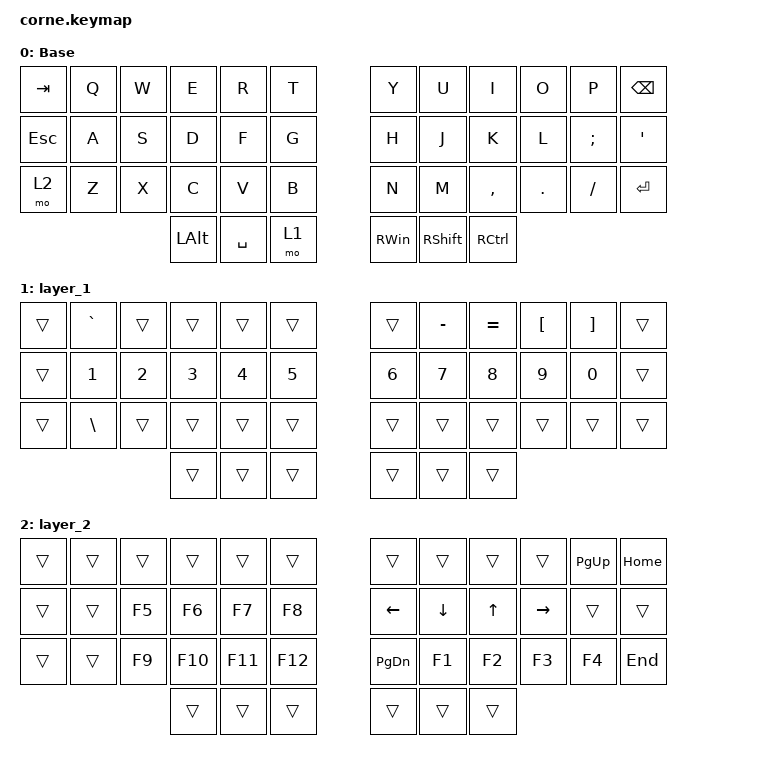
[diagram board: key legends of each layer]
/*
 * Copyright (c) 2020 The ZMK Contributors
 *
 * SPDX-License-Identifier: MIT
 */

#include <behaviors.dtsi>
#include <dt-bindings/zmk/keys.h>

/ {
    behaviors {
        ht_tp: ht_tp {
            compatible = "zmk,behavior-hold-tap";
            label = "HT_TP";
            bindings = <&kp>, <&kp>;

            #binding-cells = <2>;
            tapping-term-ms = <200>;
            flavor = "tap-preferred";
        };
    };

    keymap {
        compatible = "zmk,keymap";

        default_layer {
            // -----------------------------------------------------------------------------------------
            // |  TAB |  Q  |  W  |  E  |  R  |  T  |   |  Y  |  U   |  I  |  O  |  P  | BKSP |
            // | CTRL |  A  |  S  |  D  |  F  |  G  |   |  H  |  J   |  K  |  L  |  ;  |  '   |
            // | SHFT |  Z  |  X  |  C  |  V  |  B  |   |  N  |  M   |  ,  |  .  |  /  | ESC  |
            //                    | GUI | LWR | SPC |   | ENT | RSE  | ALT |

            display-name = "Base";
            bindings = <
&kp TAB     &kp Q  &kp W  &kp E         &kp R      &kp T    &kp Y          &kp U            &kp I              &kp O    &kp P     &kp BSPC
&kp ESCAPE  &kp A  &kp S  &kp D         &kp F      &kp G    &kp H          &kp J            &kp K              &kp L    &kp SEMI  &kp SQT
&mo 2       &kp Z  &kp X  &kp C         &kp V      &kp B    &kp N          &kp M            &kp COMMA          &kp DOT  &kp FSLH  &kp ENTER
                          &kp LEFT_ALT  &kp SPACE  &mo 1    &kp RIGHT_WIN  &kp RIGHT_SHIFT  &kp RIGHT_CONTROL
            >;
        };

        layer_1 {
            bindings = <
&trans  &kp GRAVE      &trans        &trans        &trans        &trans          &trans        &kp MINUS     &kp EQUAL     &kp LEFT_BRACKET  &kp RIGHT_BRACKET  &trans
&trans  &kp NUMBER_1   &kp NUMBER_2  &kp NUMBER_3  &kp NUMBER_4  &kp NUMBER_5    &kp NUMBER_6  &kp NUMBER_7  &kp NUMBER_8  &kp NUMBER_9      &kp NUMBER_0       &trans
&trans  &kp BACKSLASH  &trans        &trans        &trans        &trans          &trans        &trans        &trans        &trans            &trans             &trans
                                     &trans        &trans        &trans          &trans        &trans        &trans
            >;
        };

        layer_2 {
            bindings = <
&trans  &trans  &trans  &trans   &trans   &trans     &trans          &trans          &trans        &trans           &kp PAGE_UP  &kp HOME
&trans  &trans  &kp F5  &kp F6   &kp F7   &kp F8     &kp LEFT_ARROW  &kp DOWN_ARROW  &kp UP_ARROW  &kp RIGHT_ARROW  &trans       &trans
&trans  &trans  &kp F9  &kp F10  &kp F11  &kp F12    &kp PAGE_DOWN   &kp F1          &kp F2        &kp F3           &kp F4       &kp END
                        &trans   &trans   &trans     &trans          &trans          &trans
            >;
        };
    };

    conditional_layers {
        compatible = "zmk,conditional-layers";

        shift {
            if-layers = <1 1>;
            then-layer = <1>;
        };
    };
};
